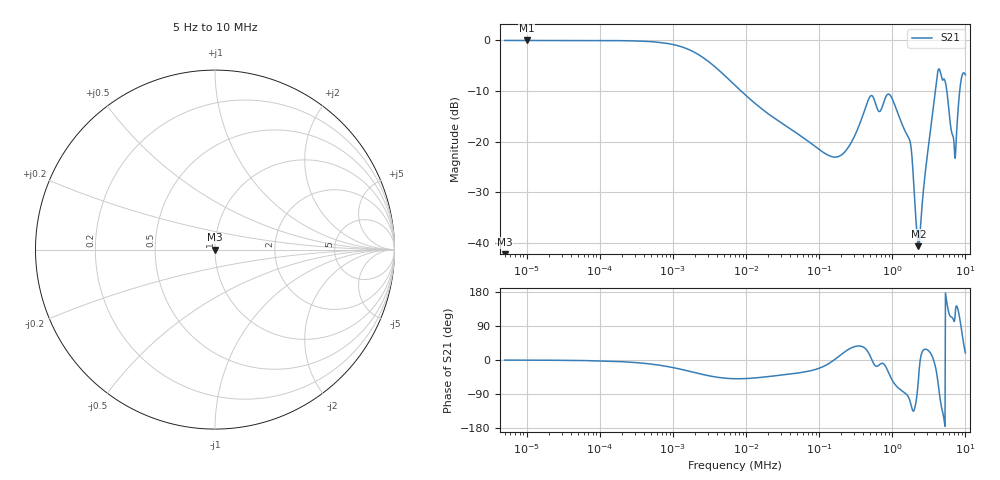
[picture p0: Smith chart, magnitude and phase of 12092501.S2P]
!Agilent Technologies,E5061B,MY49204007,A.02.12
!Date: Fri Sep 12 09:28:34 2025
!Data & Calibration Information:
!Freq	S11:SOLT2(OFF)	S21:SOLT2(OFF)	S12:SOLT2(OFF)	S22:SOLT2(OFF)
# Hz S dB R 50
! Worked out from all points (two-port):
!   1041 points, 5 Hz to 10 MHz, reference 50 ohm
!   highest |S21| = -0.05 dB at 9.964 Hz (marker M1); lowest = -40.7 dB at 2.273 MHz (marker M2)
!   |S21| within 3 dB of the highest: start of sweep to 2.362 kHz
!   lowest |S11| = - dB at 5 Hz (marker M3), VSWR 1.00, Z = 50 + j0 ohm
!   |S11| at or under -10 dB: start of sweep to end of sweep
!   S12 and S22 are empty: the file has one direction only
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5  -200.00 0.0  -0.05 -0.3  -200.00 0.0  -200.00 0.0
9.964  -200.00 0.0  -0.05 -0.4  -200.00 0.0  -200.00 0.0
56.522  -200.00 0.0  -0.06 -1.4  -200.00 0.0  -200.00 0.0
632.897  -200.00 0.0  -0.40 -13.3  -200.00 0.0  -200.00 0.0
2229.669  -200.00 0.0  -2.83 -35.5  -200.00 0.0  -200.00 0.0
7154.49  -200.00 0.0  -8.97 -49.5  -200.00 0.0  -200.00 0.0
80111.67  -200.00 0.0  -20.51 -27.5  -200.00 0.0  -200.00 0.0
196924.4  -200.00 0.0  -22.75 13.4  -200.00 0.0  -200.00 0.0
496492.2  -200.00 0.0  -11.12 11.4  -200.00 0.0  -200.00 0.0
675229.8  -200.00 0.0  -14.06 -11.6  -200.00 0.0  -200.00 0.0
893075.1  -200.00 0.0  -10.63 -34.0  -200.00 0.0  -200.00 0.0
1744260  -200.00 0.0  -19.91 -107.6  -200.00 0.0  -200.00 0.0
2272850  -200.00 0.0  -40.65 -54.5  -200.00 0.0  -200.00 0.0
3545558  -200.00 0.0  -14.65 8.1  -200.00 0.0  -200.00 0.0
4252067  -200.00 0.0  -5.86 -64.6  -200.00 0.0  -200.00 0.0
4568238  -200.00 0.0  -6.39 -109.7  -200.00 0.0  -200.00 0.0
5074112  -200.00 0.0  -7.65 -153.9  -200.00 0.0  -200.00 0.0
5773548  -200.00 0.0  -11.92 134.9  -200.00 0.0  -200.00 0.0
6993744  -200.00 0.0  -20.28 101.9  -200.00 0.0  -200.00 0.0
8198050  -200.00 0.0  -11.29 119.6  -200.00 0.0  -200.00 0.0
9038960  -200.00 0.0  -6.87 67.4  -200.00 0.0  -200.00 0.0
1e7  -200.00 0.0  -6.82 18.8  -200.00 0.0  -200.00 0.0
